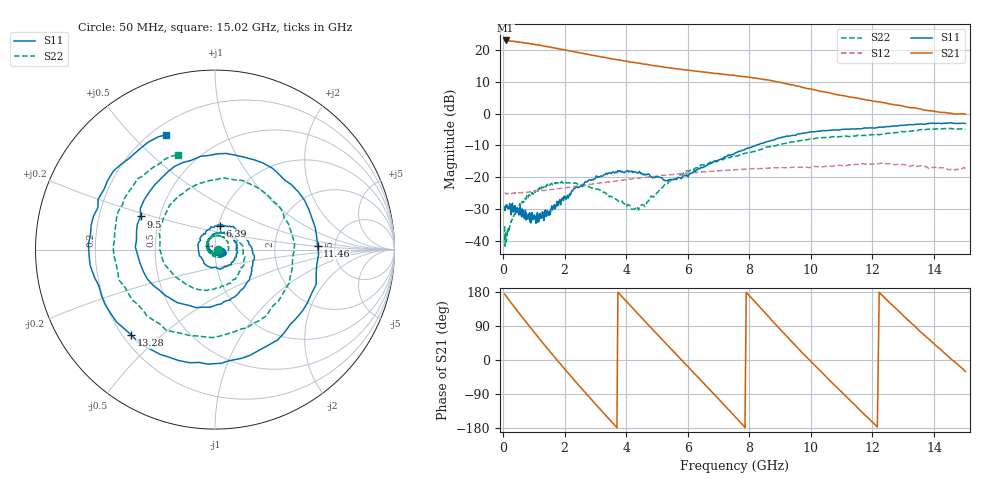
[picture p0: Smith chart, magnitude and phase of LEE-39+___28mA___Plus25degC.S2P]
! Mini-Circuits
! S2P DATA File Format
! Type: MMIC Amplifier
! Model: LEE-39+
! TEST CONDITIONS: INPUT POWER = -25dBm, Icc = 28mA, Vd = 3.58V @Temperature = +25degC
! 401 Frequency points
! S Parameters are in dB deg format
# MHz S DB R 50
!  FREQ  dB(S11)  PHS(S11)  dB(S21)  PHS(S21)  dB(S12)  PHS(S12)  dB(S22)  PHS(S22)
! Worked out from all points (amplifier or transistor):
!   401 points, 50 MHz to 15.02 GHz, reference 50 ohm
!   highest |S21| = 22.9 dB at 80 MHz (marker M1)
!   |S21| within 3 dB of that: start of sweep to 2.017 GHz
!   unconditionally stable (mu >= 1): start of sweep to end of sweep
!   at 1.04 GHz: K = 1.05, MAG = 21.7 dB, |S12| = -24.4 dB
!   at 4.57 GHz: K = 1.13, MAG = 15.6 dB, |S12| = -20.1 dB
!   at 15.02 GHz: K = 1.38, MAG = 4.8 dB, |S12| = -17.2 dB
!   S11 on the Smith chart (normalised r, x): 50 MHz: 1.07, -0.03; 6.39 GHz: 1.02, +0.28; 9.5 GHz: 0.39, +0.18; 11.46 GHz: 3.66, +0.22; 13.28 GHz: 0.23, -0.40; 15.02 GHz: 0.25, +0.63
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50  -29.29 -21.7  22.81 174.0  -25.01 -3.7  -35.32 -12.0
80  -29.08 -10.4  22.89 170.7  -25.13 -4.6  -37.40 -32.8
425  -30.52 -57.0  22.54 133.4  -25.00 -23.7  -30.82 -134.4
725  -30.25 -86.6  22.08 102.1  -24.68 -41.2  -26.69 171.8
1070  -34.41 -127.6  21.58 67.0  -24.42 -61.9  -24.37 131.9
1505  -30.60 -174.6  20.82 23.9  -23.89 -89.1  -22.51 90.7
1950  -27.22 152.2  19.99 -18.8  -23.34 -117.4  -21.74 54.5
2580  -22.91 107.9  18.87 -77.9  -22.53 -158.4  -22.26 7.9
3170  -19.58 59.5  17.78 -131.6  -21.78 161.4  -24.12 -30.4
3660  -18.31 24.7  16.94 -175.2  -21.15 127.3  -26.82 -69.7
4360  -18.58 -36.1  15.81 123.7  -20.29 77.2  -29.17 -151.9
5060  -19.87 -113.0  14.82 63.4  -19.55 25.9  -24.21 121.8
5690  -20.03 162.8  13.96 9.1  -18.93 -21.0  -19.89 68.2
6390  -17.35 77.9  13.11 -50.6  -18.36 -74.2  -16.43 11.1
7550  -12.34 -33.2  11.89 -150.6  -17.62 -163.5  -13.36 -83.0
8580  -8.80 -125.5  10.56 118.5  -17.17 116.2  -10.55 -168.4
9500  -6.86 156.0  8.74 38.2  -16.71 44.2  -8.86 118.6
10060  -5.73 110.2  7.54 -8.3  -16.75 1.7  -7.91 78.3
11460  -4.86 2.1  4.88 -120.8  -15.89 -105.7  -7.04 -19.3
12580  -4.09 -82.9  2.96 149.5  -15.65 163.4  -6.20 -97.5
13280  -3.52 -134.6  1.75 96.2  -16.39 110.4  -5.54 -144.7
15020  -3.14 113.1  -0.20 -30.4  -17.21 -12.4  -4.93 111.5
